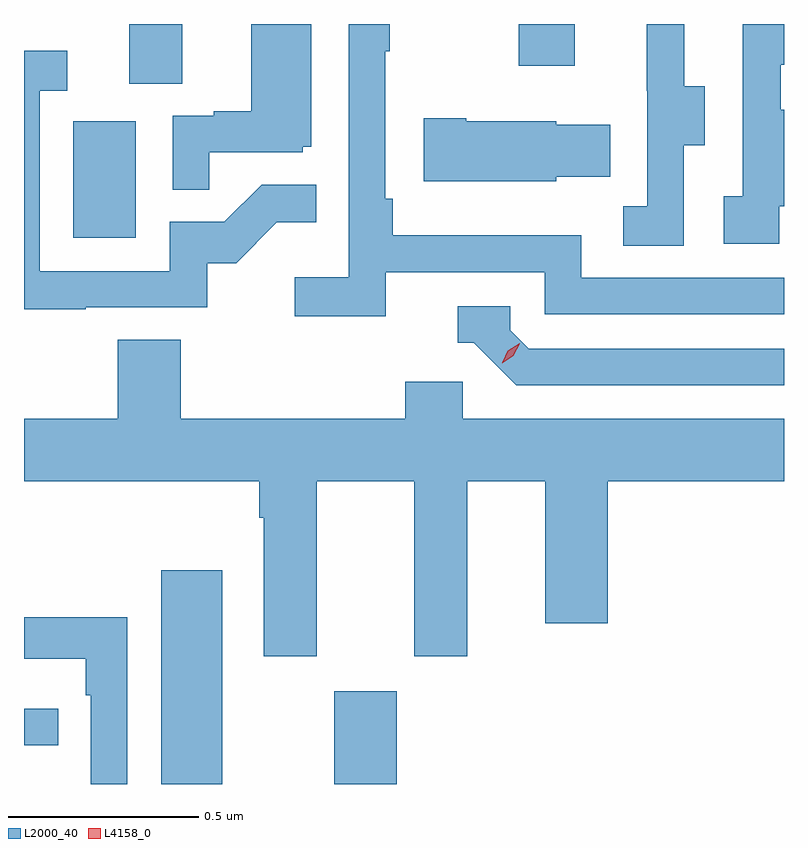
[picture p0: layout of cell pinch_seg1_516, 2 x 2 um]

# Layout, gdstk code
import gdstk
lib = gdstk.Library(unit=1e-6, precision=1e-09)
def R(c, l, rs):  # rectangles x0, y0, x1, y1
    for r in rs: c.add(gdstk.rectangle(r[:2], r[2:], *l))
def P(c, l, *ps):  # polygons
    for p in ps: c.add(gdstk.Polygon(p, *l))
L2000_40 = (2000, 40)
L4158_0 = (4158, 0)

pinch_seg1_516 = lib.new_cell('pinch_seg1_516')
R(pinch_seg1_516, L2000_40, [(1135.025,529.623,1135.186,530.185), (1135.481,529.623,1135.645,529.867), (1134.664,529.725,1134.754,529.821), (1134.794,531.06,1134.958,531.367), (1134.941,531.466,1135.081,531.623), (1135.966,531.513,1136.113,531.623)])
P(pinch_seg1_516, L2000_40, [(1136.4,531.304),(1136.455,531.304),(1136.455,531.459),(1136.401,531.459),(1136.401,531.623),(1136.303,531.623),(1136.303,531.447),(1136.304,531.447),(1136.304,531.143),(1136.241,531.143),(1136.241,531.04),(1136.4,531.04)],
  [(1136.652,531.143),(1136.664,531.143),(1136.664,531.398),(1136.655,531.398),(1136.655,531.516),(1136.664,531.516),(1136.664,531.623),(1136.556,531.623),(1136.556,531.17),(1136.505,531.17),(1136.505,531.045),(1136.652,531.045)],
  [(1135.151,531.285),(1135.398,531.285),(1135.398,531.3),(1135.42,531.3),(1135.42,531.623),(1135.262,531.623),(1135.262,531.394),(1135.163,531.394),(1135.163,531.381),(1135.056,531.381),(1135.056,531.187),(1135.151,531.187)],
  [(1135.616,530.97),(1136.034,530.97),(1136.034,530.859),(1136.664,530.859),(1136.664,530.955),(1136.13,530.955),(1136.13,531.067),(1135.634,531.067),(1135.634,531.163),(1135.614,531.163),(1135.614,531.551),(1135.627,531.551),(1135.627,531.623),(1135.518,531.623),(1135.518,530.956),(1135.377,530.956),(1135.377,530.854),(1135.616,530.854)],
  [(1134.827,530.877),(1135.146,530.877),(1135.146,530.994),(1135.222,530.994),(1135.329,531.101),(1135.433,531.101),(1135.433,531.2),(1135.289,531.2),(1135.191,531.102),(1135.047,531.102),(1135.047,530.973),(1134.705,530.973),(1134.705,531.447),(1134.778,531.447),(1134.778,531.553),(1134.664,531.553),(1134.664,530.872),(1134.827,530.872)],
  [(1136.064,531.221),(1136.207,531.221),(1136.207,531.358),(1136.064,531.358),(1136.064,531.367),(1135.828,531.367),(1135.828,531.375),(1135.716,531.375),(1135.716,531.209),(1136.064,531.209)],
  [(1136.664,530.769),(1135.992,530.769),(1135.944,530.817),(1135.944,530.88),(1135.805,530.88),(1135.805,530.784),(1135.848,530.784),(1135.959,530.673),(1136.664,530.673)],
  [(1135.435,530.42),(1135.691,530.42),(1135.691,529.959),(1135.831,529.959),(1135.831,530.42),(1136.036,530.42),(1136.036,530.046),(1136.2,530.046),(1136.2,530.42),(1136.664,530.42),(1136.664,530.584),(1135.818,530.584),(1135.818,530.682),(1135.667,530.682),(1135.667,530.584),(1135.076,530.584),(1135.076,530.792),(1134.911,530.792),(1134.911,530.584),(1134.664,530.584),(1134.664,530.42),(1135.283,530.42),(1135.283,530.324),(1135.295,530.324),(1135.295,529.959),(1135.435,529.959)],
  [(1134.936,530.062),(1134.664,530.062),(1134.664,529.952),(1134.827,529.952),(1134.827,529.856),(1134.84,529.856),(1134.84,529.623),(1134.936,529.623)])
P(pinch_seg1_516, L4158_0, [(1135.922,530.73),(1135.922,530.731),(1135.937,530.763),(1135.968,530.783),(1135.968,530.783),(1135.968,530.782),(1135.952,530.75),(1135.922,530.73)])

lib.write_gds('pinch_seg1_516.gds')
